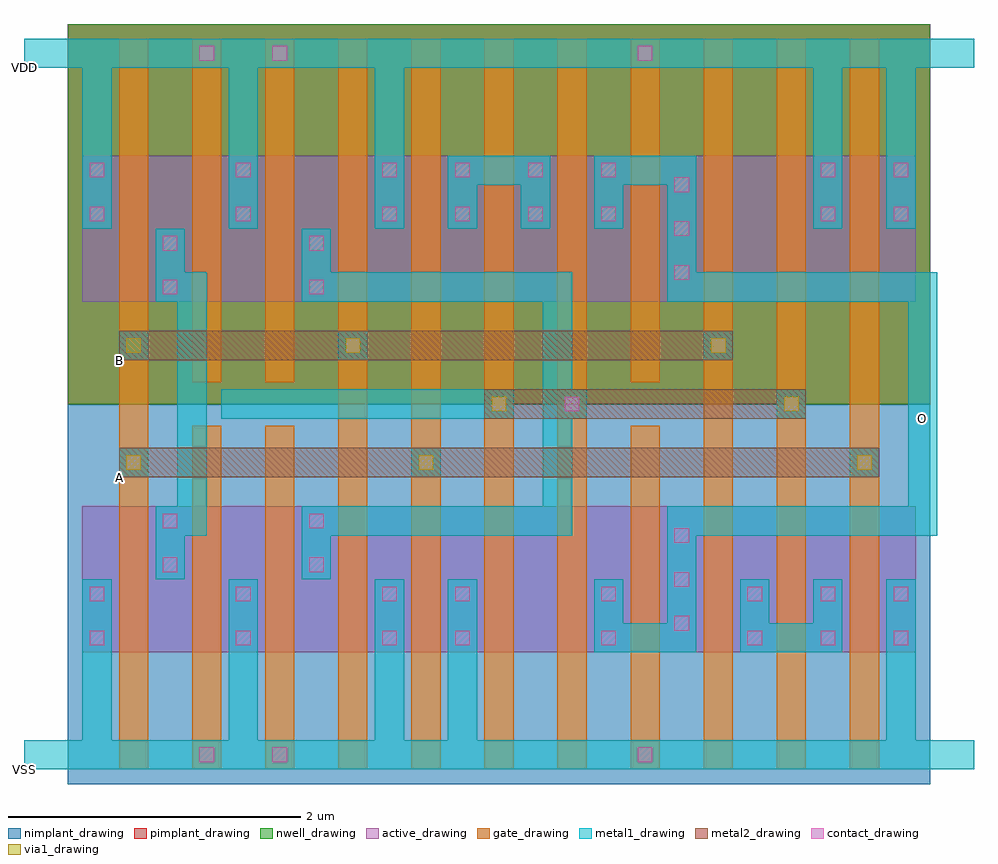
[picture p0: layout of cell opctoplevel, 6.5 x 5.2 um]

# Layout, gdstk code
import gdstk
lib = gdstk.Library(unit=1e-6, precision=1e-09)
def R(c, l, rs):  # rectangles x0, y0, x1, y1
    for r in rs: c.add(gdstk.rectangle(r[:2], r[2:], *l))
def A(c, l, x, y, w, h, nx, ny, dx, dy):  # array of equal rectangles
    R(c, l, [(x+i*dx, y+j*dy, x+i*dx+w, y+j*dy+h) for i in range(nx) for j in range(ny)])
active_drawing = (1, 0)
nwell_drawing = (3, 0)
pimplant_drawing = (4, 0)
nimplant_drawing = (5, 0)
gate_drawing = (6, 0)
contact_drawing = (7, 0)
metal1_drawing = (8, 0)
via1_drawing = (9, 0)
metal2_drawing = (10, 0)

opctoplevel = lib.new_cell('opctoplevel')
A(opctoplevel, active_drawing, -0.25, 0, 0.7, 1, 11, 2, 0.5, 2.4)
A(opctoplevel, nwell_drawing, -0.35, 1.7, 0.9, 2.6, 11, 1, 0.5, 0)
A(opctoplevel, pimplant_drawing, -0.35, 1.7, 0.9, 2.6, 11, 1, 0.5, 0)
A(opctoplevel, nimplant_drawing, -0.35, -0.9, 0.9, 2.6, 11, 1, 0.5, 0)
A(opctoplevel, gate_drawing, 1.5, 1.7, 0.2, 2.5, 4, 1, 0.5, 0)
A(opctoplevel, gate_drawing, 4, 1.7, 0.2, 2.5, 3, 1, 0.5, 0)
R(opctoplevel, gate_drawing, [(0,-0.8,0.2,1.7), (0.5,-0.8,0.7,1.55), (1,-0.8,1.2,1.55), (1.5,-0.8,1.7,2.2), (2,-0.8,2.2,1.7), (2.5,-0.8,2.7,1.8), (3,-0.8,3.2,1.8), (3.5,-0.8,3.7,1.55), (4,-0.8,4.2,2.2), (4.5,-0.8,4.7,1.8), (5,-0.8,5.2,1.7), (0,1.7,0.2,4.2), (0.5,1.85,0.7,4.2), (1,1.85,1.2,4.2), (3.5,1.85,3.7,4.2)])
A(opctoplevel, contact_drawing, -0.2, 0.05, 0.1, 0.1, 3, 2, 1, 0.3)
A(opctoplevel, contact_drawing, 2.3, 0.05, 0.1, 0.1, 3, 2, 1, 0.3)
A(opctoplevel, contact_drawing, 3.8, 0.15, 0.1, 0.1, 1, 3, 0, 0.3)
A(opctoplevel, contact_drawing, 3.8, 2.55, 0.1, 0.1, 1, 3, 0, 0.3)
A(opctoplevel, contact_drawing, -0.2, 2.95, 0.1, 0.1, 3, 2, 1, 0.3)
A(opctoplevel, contact_drawing, 2.3, 2.95, 0.1, 0.1, 3, 2, 0.5, 0.3)
R(opctoplevel, contact_drawing, [(0.55,-0.75,0.65,-0.65), (1.05,-0.75,1.15,-0.65), (3.55,-0.75,3.65,-0.65), (4.8,0.05,4.9,0.15), (5.3,0.05,5.4,0.15), (4.8,0.35,4.9,0.45), (5.3,0.35,5.4,0.45), (0.3,0.55,0.4,0.65), (1.3,0.55,1.4,0.65), (0.3,0.85,0.4,0.95), (1.3,0.85,1.4,0.95), (0.05,1.25,0.15,1.35), (2.05,1.25,2.15,1.35), (5.05,1.25,5.15,1.35), (2.55,1.65,2.65,1.75), (3.05,1.65,3.15,1.75), (4.55,1.65,4.65,1.75), (1.55,2.05,1.65,2.15), (4.05,2.05,4.15,2.15), (0.3,2.45,0.4,2.55), (1.3,2.45,1.4,2.55), (0.3,2.75,0.4,2.85), (1.3,2.75,1.4,2.85), (4.8,2.95,4.9,3.05), (5.3,2.95,5.4,3.05), (4.8,3.25,4.9,3.35), (5.3,3.25,5.4,3.35), (0.55,4.05,0.65,4.15), (1.05,4.05,1.15,4.15), (3.55,4.05,3.65,4.15)])
A(opctoplevel, metal1_drawing, -0.25, -0.6, 0.2, 0.6, 3, 2, 1, 4)
A(opctoplevel, metal1_drawing, -0.25, 0, 0.2, 0.5, 3, 2, 1, 2.9)
A(opctoplevel, metal1_drawing, 2.25, 0, 0.2, 0.5, 3, 1, 1, 0)
A(opctoplevel, metal1_drawing, 2.25, 2.9, 0.2, 0.5, 3, 1, 0.5, 0)
R(opctoplevel, metal1_drawing, [(-0.65,-0.8,5.85,-0.6), (0.5,-0.8,0.7,-0.6), (1,-0.8,1.2,-0.6), (3.5,-0.8,3.7,-0.6), (2.25,-0.6,2.45,0), (5.25,-0.6,5.45,0), (3.45,0,3.75,0.2), (3.75,0,3.95,1), (4.45,0,4.75,0.2), (4.75,0,4.95,0.5), (5.25,0,5.45,0.5), (0.25,0.5,0.45,1), (1.25,0.5,1.45,1), (0,1.2,0.2,1.4), (0,1.2,0.2,1.4), (2,1.2,2.2,1.4), (2,1.2,2.2,1.4), (5,1.2,5.2,1.4), (5,1.2,5.2,1.4), (0.7,1.6,2.5,1.8), (2.5,1.6,2.7,1.8), (2.5,1.6,2.7,1.8), (3,1.6,3.2,1.8), (4.5,1.6,4.7,1.8), (4.5,1.6,4.7,1.8), (0,2,0.2,2.2), (1.5,2,1.7,2.2), (1.5,2,1.7,2.2), (4,2,4.2,2.2), (4,2,4.2,2.2), (0.25,2.4,0.45,2.9), (1.25,2.4,1.45,2.9), (3.75,2.4,3.95,3.4), (4.75,2.9,4.95,3.4), (5.25,2.9,5.45,3.4), (2.45,3.2,2.75,3.4), (3.45,3.2,3.75,3.4), (4.75,3.4,4.95,4), (5.25,3.4,5.45,4), (-0.65,4,5.85,4.2), (0.5,4,0.7,4.2), (1,4,1.2,4.2), (3.5,4,3.7,4.2)])
R(opctoplevel, via1_drawing, [(0.05,1.25,0.15,1.35), (2.05,1.25,2.15,1.35), (5.05,1.25,5.15,1.35), (2.55,1.65,2.65,1.75), (4.55,1.65,4.65,1.75), (0.05,2.05,0.15,2.15), (1.55,2.05,1.65,2.15), (4.05,2.05,4.15,2.15)])
R(opctoplevel, metal2_drawing, [(0,1.2,0.2,1.4), (0.2,1.2,5,1.4), (2,1.2,2.2,1.4), (5,1.2,5.2,1.4), (2.5,1.6,2.7,1.8), (2.7,1.6,4.5,1.8), (4.5,1.6,4.7,1.8), (0,2,0.2,2.2), (0.2,2,4,2.2), (1.5,2,1.7,2.2), (4,2,4.2,2.2)])
opctoplevel.add(gdstk.FlexPath([(3.95,2.5),(5.5,2.5),(5.5,0.9),(3.95,0.9)], 0.2, ends="flush", simple_path=True, layer=8, datatype=0))  # metal1_drawing
opctoplevel.add(gdstk.FlexPath([(0.45,2.5),(0.5,2.5),(0.5,0.9),(0.45,0.9)], 0.2, ends="flush", simple_path=True, layer=8, datatype=0))  # metal1_drawing
opctoplevel.add(gdstk.FlexPath([(1.45,2.5),(3,2.5),(3,0.9),(1.45,0.9)], 0.2, ends="flush", simple_path=True, layer=8, datatype=0))  # metal1_drawing
opctoplevel.add(gdstk.Label('A', (0,1.2), layer=8, texttype=1))
opctoplevel.add(gdstk.Label('B', (0,2), layer=8, texttype=1))
opctoplevel.add(gdstk.Label('O', (5.5,1.6), layer=8, texttype=1))
opctoplevel.add(gdstk.Label('VDD', (-0.65,4), layer=8, texttype=1))
opctoplevel.add(gdstk.Label('VSS', (-0.65,-0.8), layer=8, texttype=1))

lib.write_gds('opctoplevel.gds')
